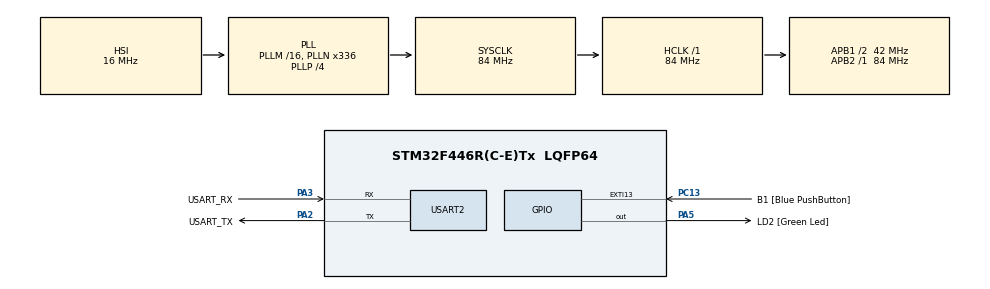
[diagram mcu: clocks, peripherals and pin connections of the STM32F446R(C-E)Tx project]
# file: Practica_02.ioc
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Mcu.Family=STM32F4
Mcu.Name=STM32F446R(C-E)Tx
Mcu.Package=LQFP64
NVIC.PriorityGroup=NVIC_PRIORITYGROUP_0
PA13.GPIO_Label=TMS
PA13.Mode=Serial_Wire
PA13.Signal=SYS_JTMS-SWDIO
PA14.GPIO_Label=TCK
PA14.Mode=Serial_Wire
PA14.Signal=SYS_JTCK-SWCLK
PA2.GPIO_Label=USART_TX
PA2.Mode=Asynchronous
PA2.Signal=USART2_TX
PA3.GPIO_Label=USART_RX
PA3.Mode=Asynchronous
PA3.Signal=USART2_RX
PA5.GPIO_Label=LD2 [Green Led]
PA5.Signal=GPIO_Output
PB3.GPIO_Label=SWO
PB3.Signal=SYS_JTDO-SWO
PC13.GPIO_Label=B1 [Blue PushButton]
PC13.GPIO_ModeDefaultEXTI=GPIO_MODE_IT_FALLING
PC13.Signal=GPXTI13
PC14-OSC32_IN.Mode=LSE-External-Oscillator
PC14-OSC32_IN.Signal=RCC_OSC32_IN
PC15-OSC32_OUT.Mode=LSE-External-Oscillator
PC15-OSC32_OUT.Signal=RCC_OSC32_OUT
PH0-OSC_IN.Mode=HSE-External-Oscillator
PH0-OSC_IN.Signal=RCC_OSC_IN
PH1-OSC_OUT.Mode=HSE-External-Oscillator
PH1-OSC_OUT.Signal=RCC_OSC_OUT
ProjectManager.HeapSize=0x200
ProjectManager.StackSize=0x400
ProjectManager.TargetToolchain=STM32CubeIDE
RCC.48MHZClocksFreq_Value=84000000
RCC.AHBFreq_Value=84000000
RCC.APB1CLKDivider=RCC_HCLK_DIV2
RCC.APB1Freq_Value=42000000
RCC.APB1TimFreq_Value=84000000
RCC.APB2Freq_Value=84000000
RCC.APB2TimFreq_Value=84000000
RCC.CortexFreq_Value=84000000
RCC.FLatency-AdvancedSettings=FLASH_LATENCY_2
RCC.HCLKFreq_Value=84000000
RCC.HSE_VALUE=8000000
RCC.HSI_VALUE=16000000
RCC.PLLN=336
RCC.PLLP=RCC_PLLP_DIV4
RCC.SYSCLKFreq_VALUE=84000000
RCC.SYSCLKSource=RCC_SYSCLKSOURCE_PLLCLK
RCC.USBFreq_Value=168000000
RCC.VCOOutputFreq_Value=336000000
USART2.VirtualMode=VM_ASYNC
board=NUCLEO-F446RE

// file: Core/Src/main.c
/* USER CODE BEGIN Header */
/**
  ******************************************************************************
  * @file           : main.c
  * @brief          : Main program body
  ******************************************************************************
  * @attention
  *
  * Copyright (c) 2026 STMicroelectronics.
  * All rights reserved.
  *
  * This software is licensed under terms that can be found in the LICENSE file
  * in the root directory of this software component.
  * If no LICENSE file comes with this software, it is provided AS-IS.
  *
  ******************************************************************************
  */
/* USER CODE END Header */
#include "main.h"

/* USER CODE BEGIN PD */
	#define vtime 3
/* USER CODE END PD */

UART_HandleTypeDef huart2;

/* USER CODE BEGIN PV */
	delay_t delay_us; //se llama delay_us para no confundir con el delay usado dentro de las func.
	tick_t time_us=100; //100 ms
	tick_t timeVector[vtime]={1000,200,100};

	aux i=0;
	aux cantParpadeos=5;
	aux cuentaCiclo=0;

/* USER CODE END PV */

void SystemClock_Config(void);
static void MX_GPIO_Init(void);
static void MX_USART2_UART_Init(void);
/* USER CODE BEGIN PFP */
void delayInit( delay_t * delay, tick_t duration ); //carga el valor de duracion del retardo, NO inicia
bool_t delayRead( delay_t * delay ); //verifica el estado de flag running
void delayWrite( delay_t * delay, tick_t duration ); //cambia el tiempo de duracion del delay
/* USER CODE END PFP */

/* USER CODE BEGIN 0 */
/*Variables*/

	//Punto 1.1
	void delayInit( delay_t * delay, tick_t duration ){
		delay->duration=duration;
		delay->running=false;
	}

	//Punto 1.2
	bool_t delayRead( delay_t * delay ){

		if(!delay->running){
			delay->startTime=HAL_GetTick();
			delay->running=true;
			return false;
		}
		if((HAL_GetTick()-delay->startTime)>=delay->duration){
				delay->running=false;
				return true;
		}
		return false;
		}

	//Punto 1.3
	void delayWrite( delay_t * delay, tick_t duration ){

		delay->duration=duration;

	}
/* USER CODE END 0 */

int main(void)
{

  /* MCU Configuration--------------------------------------------------------*/

  /* Reset of all peripherals, Initializes the Flash interface and the Systick. */
  HAL_Init();

  /* USER CODE BEGIN Init */
  delayInit(&delay_us,(timeVector[i]/2)); // divido por 2 porque cada toggle se hace a la mitad del período
  /* USER CODE END Init */

  /* Configure the system clock */
  SystemClock_Config();

  /* Initialize all configured peripherals */
  MX_GPIO_Init();
  MX_USART2_UART_Init();

  /* Infinite loop */
 while (1)
  {
	  //cont=0;

	  if(delayRead(&delay_us)){
	  	HAL_GPIO_TogglePin(LD2_GPIO_Port, LD2_Pin);

	  	cuentaCiclo++;

	  	if(cuentaCiclo>=(cantParpadeos*2)){
	  		cuentaCiclo=0;
	  		i++;
	  		if(i>=vtime){
	  			i=0;
	  		}
	  	}
	  	delayWrite(&delay_us, timeVector[i]/2);

	  }
  }

  }

void SystemClock_Config(void)
{
  RCC_OscInitTypeDef RCC_OscInitStruct = {0};
  RCC_ClkInitTypeDef RCC_ClkInitStruct = {0};

  /** Configure the main internal regulator output voltage
  */
  __HAL_RCC_PWR_CLK_ENABLE();
  __HAL_PWR_VOLTAGESCALING_CONFIG(PWR_REGULATOR_VOLTAGE_SCALE3);

  /** Initializes the RCC Oscillators according to the specified parameters
  * in the RCC_OscInitTypeDef structure.
  */
  RCC_OscInitStruct.OscillatorType = RCC_OSCILLATORTYPE_HSI;
  RCC_OscInitStruct.HSIState = RCC_HSI_ON;
  RCC_OscInitStruct.HSICalibrationValue = RCC_HSICALIBRATION_DEFAULT;
  RCC_OscInitStruct.PLL.PLLState = RCC_PLL_ON;
  RCC_OscInitStruct.PLL.PLLSource = RCC_PLLSOURCE_HSI;
  RCC_OscInitStruct.PLL.PLLM = 16;
  RCC_OscInitStruct.PLL.PLLN = 336;
  RCC_OscInitStruct.PLL.PLLP = RCC_PLLP_DIV4;
  RCC_OscInitStruct.PLL.PLLQ = 2;
  RCC_OscInitStruct.PLL.PLLR = 2;
  if (HAL_RCC_OscConfig(&RCC_OscInitStruct) != HAL_OK)
  {
    Error_Handler();
  }

  /** Initializes the CPU, AHB and APB buses clocks
  */
  RCC_ClkInitStruct.ClockType = RCC_CLOCKTYPE_HCLK|RCC_CLOCKTYPE_SYSCLK
                              |RCC_CLOCKTYPE_PCLK1|RCC_CLOCKTYPE_PCLK2;
  RCC_ClkInitStruct.SYSCLKSource = RCC_SYSCLKSOURCE_PLLCLK;
  RCC_ClkInitStruct.AHBCLKDivider = RCC_SYSCLK_DIV1;
  RCC_ClkInitStruct.APB1CLKDivider = RCC_HCLK_DIV2;
  RCC_ClkInitStruct.APB2CLKDivider = RCC_HCLK_DIV1;

  if (HAL_RCC_ClockConfig(&RCC_ClkInitStruct, FLASH_LATENCY_2) != HAL_OK)
  {
    Error_Handler();
  }
}

static void MX_USART2_UART_Init(void)
{

  huart2.Instance = USART2;
  huart2.Init.BaudRate = 115200;
  huart2.Init.WordLength = UART_WORDLENGTH_8B;
  huart2.Init.StopBits = UART_STOPBITS_1;
  huart2.Init.Parity = UART_PARITY_NONE;
  huart2.Init.Mode = UART_MODE_TX_RX;
  huart2.Init.HwFlowCtl = UART_HWCONTROL_NONE;
  huart2.Init.OverSampling = UART_OVERSAMPLING_16;
  if (HAL_UART_Init(&huart2) != HAL_OK)
  {
    Error_Handler();
  }

}

static void MX_GPIO_Init(void)
{
  GPIO_InitTypeDef GPIO_InitStruct = {0};

  /* GPIO Ports Clock Enable */
  __HAL_RCC_GPIOC_CLK_ENABLE();
  __HAL_RCC_GPIOH_CLK_ENABLE();
  __HAL_RCC_GPIOA_CLK_ENABLE();
  __HAL_RCC_GPIOB_CLK_ENABLE();

  /*Configure GPIO pin Output Level */
  HAL_GPIO_WritePin(LD2_GPIO_Port, LD2_Pin, GPIO_PIN_RESET);

  /*Configure GPIO pin : B1_Pin */
  GPIO_InitStruct.Pin = B1_Pin;
  GPIO_InitStruct.Mode = GPIO_MODE_IT_FALLING;
  GPIO_InitStruct.Pull = GPIO_NOPULL;
  HAL_GPIO_Init(B1_GPIO_Port, &GPIO_InitStruct);

  /*Configure GPIO pin : LD2_Pin */
  GPIO_InitStruct.Pin = LD2_Pin;
  GPIO_InitStruct.Mode = GPIO_MODE_OUTPUT_PP;
  GPIO_InitStruct.Pull = GPIO_NOPULL;
  GPIO_InitStruct.Speed = GPIO_SPEED_FREQ_LOW;
  HAL_GPIO_Init(LD2_GPIO_Port, &GPIO_InitStruct);

}

void Error_Handler(void)
{
  __disable_irq();
  while (1)
  {
  }
}
